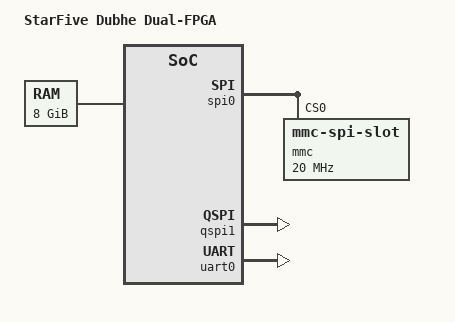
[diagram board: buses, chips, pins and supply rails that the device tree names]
// SPDX-License-Identifier: (GPL-2.0 OR MIT)
/* Copyright (c) 2022 StarFive Technology Co., Ltd. */

#include "dubhe.dtsi"

/ {
	model = "StarFive Dubhe Dual-FPGA";

	aliases {
		serial0 = &uart0;
	};

	chosen {
		bootargs = "console=ttySIF0,115200 earlycon=sbi";
	};

	cpus {
		timebase-frequency = <5000000>;
	};

	memory@80000000 {
		device_type = "memory";
		reg = <0x0 0x80000000 0x2 0x0>;
	};

	soc {
	};
};

&spi0 {
	status = "okay";
	mmc@0 {
		compatible = "mmc-spi-slot";
		reg = <0>;
		spi-max-frequency = <20000000>;
		voltage-ranges = <3300 3300>;
		disable-wp;
	};
};

&qspi1 {
	status = "okay";
};

&uart0 {
	status = "okay";
};

&pbus_clk {
	clock-frequency = <10000000>;
};
